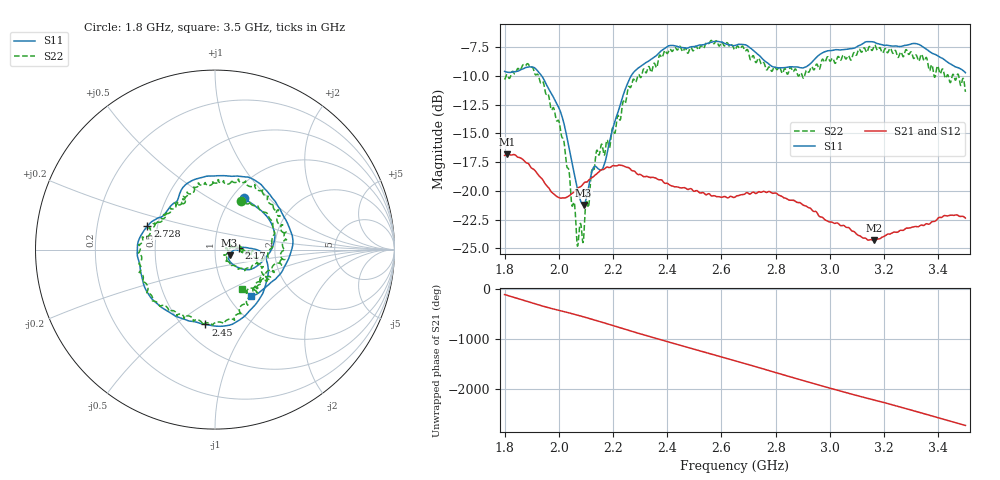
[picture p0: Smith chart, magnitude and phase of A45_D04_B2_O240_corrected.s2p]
! Created with skrf 1.9.0 (http://scikit-rf.org).
# Hz S RI R 50.0
!freq ReS11 ImS11 ReS21 ImS21 ReS12 ImS12 ReS22 ImS22
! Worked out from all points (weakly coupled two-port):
!   1601 points, 1.8 GHz to 3.5 GHz, reference 50 ohm
!   highest |S21| = -16.80 dB at 1.811 GHz (marker M1); lowest = -24.3 dB at 3.162 GHz (marker M2)
!   lowest |S11| = -21.2 dB at 2.091 GHz (marker M3), VSWR 1.19, Z = 58.7 - j3.7 ohm
!   |S11| at or under -10 dB: 1.937 GHz to 2.267 GHz (329.8 MHz wide, 15.7 % of centre)
!   |S22| runs from -24.8 to -6.9 dB; largest |S21 - S12| = 0.0024
!   S11 on the Smith chart (normalised r, x): 1.8 GHz: 1.14, +0.74; 2.17 GHz: 1.30, +0.03; 2.45 GHz: 0.64, -0.65; 2.728 GHz: 0.44, +0.14; 3.5 GHz: 1.26, -0.73
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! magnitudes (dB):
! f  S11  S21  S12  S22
! 1.8 GHz  -9.6  -16.9  -16.9  -10.3
! 1.811 GHz  -9.7  -16.8  -16.8  -9.9
! 1.884 GHz  -9.2  -17.6  -17.6  -8.9
! 1.942 GHz  -10.2  -19.1  -19.1  -10.5
! 2.011 GHz  -13.5  -20.6  -20.6  -15.3
! 2.067 GHz  -19.6  -19.8  -19.8  -24.4
! 2.084 GHz  -21.0  -19.6  -19.5  -23.3
! 2.091 GHz  -21.2  -19.4  -19.4  -24.3
! 2.136 GHz  -17.9  -18.6  -18.6  -17.0
! 2.17 GHz  -17.6  -18.1  -18.1  -16.8
! 2.261 GHz  -10.3  -18.0  -18.0  -11.0
! 2.367 GHz  -8.1  -19.0  -19.0  -8.6
! 2.45 GHz  -7.5  -19.7  -19.7  -7.5
! 2.65 GHz  -7.4  -20.5  -20.5  -7.7
! 2.728 GHz  -8.0  -20.2  -20.2  -8.8
! 2.802 GHz  -9.3  -20.2  -20.2  -9.4
! 2.9 GHz  -9.3  -21.2  -21.2  -10.1
! 2.934 GHz  -8.8  -21.6  -21.6  -9.2
! 3.162 GHz  -7.0  -24.3  -24.2  -7.4
! 3.217 GHz  -7.4  -23.7  -23.7  -7.8
! 3.326 GHz  -7.2  -23.1  -23.1  -8.6
! 3.5 GHz  -9.7  -22.4  -22.3  -11.4
